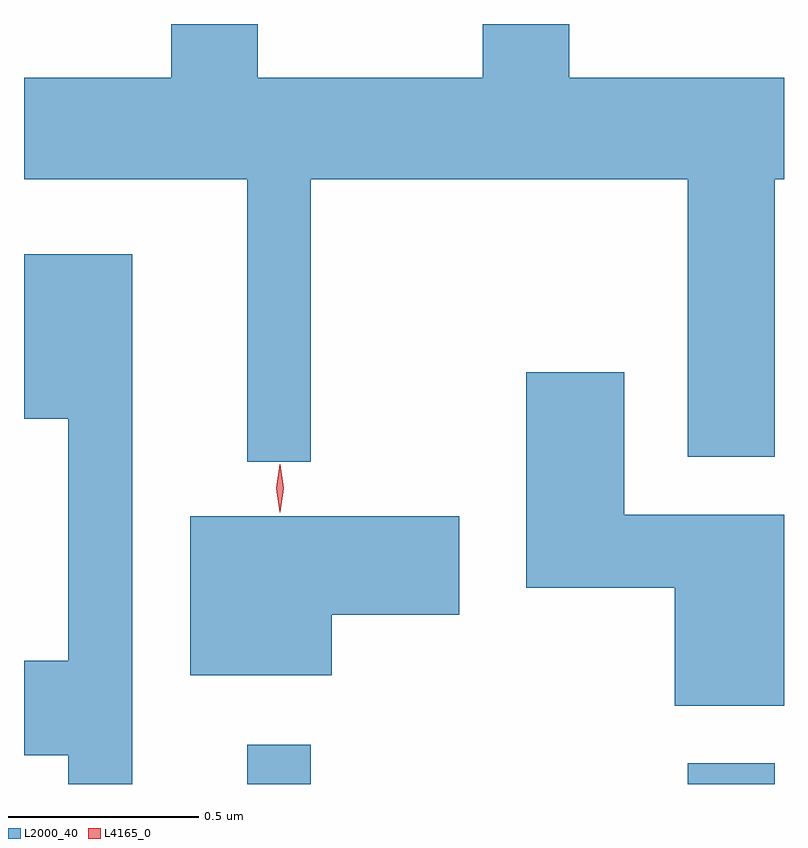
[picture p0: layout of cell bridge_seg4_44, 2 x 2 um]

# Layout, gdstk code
import gdstk
lib = gdstk.Library(unit=1e-6, precision=1e-09)
def R(c, l, rs):  # rectangles x0, y0, x1, y1
    for r in rs: c.add(gdstk.rectangle(r[:2], r[2:], *l))
def P(c, l, *ps):  # polygons
    for p in ps: c.add(gdstk.Polygon(p, *l))
L2000_40 = (2000, 40)
L4165_0 = (4165, 0)

bridge_seg4_44 = lib.new_cell('bridge_seg4_44')
R(bridge_seg4_44, L2000_40, [(1306.401,1370.845,1306.569,1370.948), (1307.561,1370.845,1307.789,1370.899)])
P(bridge_seg4_44, L2000_40, [(1306.569,1372.436),(1307.561,1372.436),(1307.561,1371.706),(1307.789,1371.706),(1307.789,1372.436),(1307.814,1372.436),(1307.814,1372.704),(1307.249,1372.704),(1307.249,1372.845),(1307.021,1372.845),(1307.021,1372.704),(1306.429,1372.704),(1306.429,1372.845),(1306.201,1372.845),(1306.201,1372.704),(1305.814,1372.704),(1305.814,1372.436),(1306.401,1372.436),(1306.401,1371.693),(1306.569,1371.693)],
  [(1306.099,1372.239),(1305.814,1372.239),(1305.814,1371.806),(1305.931,1371.806),(1305.931,1371.169),(1305.814,1371.169),(1305.814,1370.921),(1305.931,1370.921),(1305.931,1370.845),(1306.099,1370.845)],
  [(1307.814,1371.554),(1307.394,1371.554),(1307.394,1371.929),(1307.136,1371.929),(1307.136,1371.361),(1307.526,1371.361),(1307.526,1371.051),(1307.814,1371.051)],
  [(1306.624,1371.291),(1306.959,1371.291),(1306.959,1371.549),(1306.251,1371.549),(1306.251,1371.131),(1306.624,1371.131)])
P(bridge_seg4_44, L4165_0, [(1306.487,1371.56),(1306.478,1371.623),(1306.487,1371.686),(1306.488,1371.687),(1306.488,1371.686),(1306.498,1371.623),(1306.488,1371.56),(1306.488,1371.56)])

lib.write_gds('bridge_seg4_44.gds')
